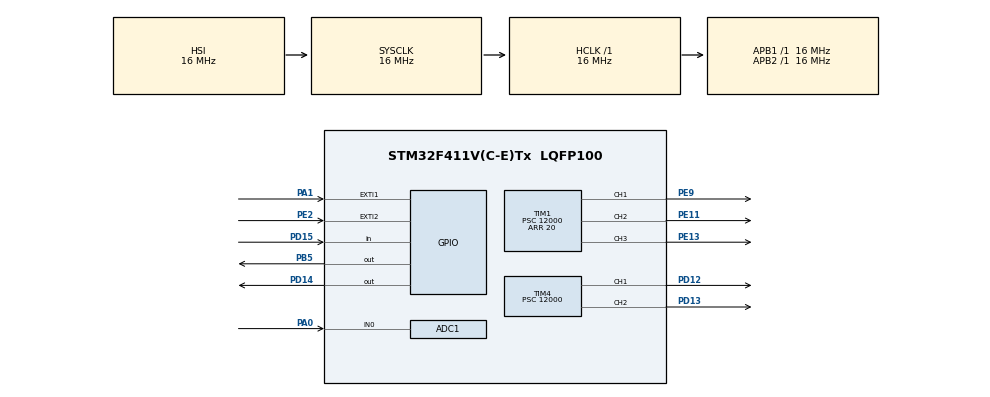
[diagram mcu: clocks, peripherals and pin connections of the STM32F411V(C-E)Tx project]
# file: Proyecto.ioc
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ADC1.Channel-0\#ChannelRegularConversion=ADC_CHANNEL_0
ADC1.NbrOfConversionFlag=1
ADC1.Rank-0\#ChannelRegularConversion=1
ADC1.Resolution=ADC_RESOLUTION_8B
ADC1.SamplingTime-0\#ChannelRegularConversion=ADC_SAMPLETIME_3CYCLES
ADC1.master=1
Mcu.Family=STM32F4
Mcu.Name=STM32F411V(C-E)Tx
Mcu.Package=LQFP100
NVIC.EXTI1_IRQn=true\:0\:0\:false\:false\:true\:true\:true
NVIC.EXTI2_IRQn=true\:0\:0\:false\:false\:true\:true\:true
NVIC.PriorityGroup=NVIC_PRIORITYGROUP_4
PA0-WKUP.Signal=ADCx_IN0
PA1.GPIO_ModeDefaultEXTI=GPIO_MODE_IT_RISING
PA1.GPIO_PuPd=GPIO_PULLUP
PA1.Signal=GPXTI1
PB5.Signal=GPIO_Output
PD12.Signal=S_TIM4_CH1
PD13.Signal=S_TIM4_CH2
PD14.Signal=GPIO_Output
PD15.Signal=GPIO_Input
PE11.Signal=S_TIM1_CH2
PE13.Signal=S_TIM1_CH3
PE2.Signal=GPXTI2
PE9.Signal=S_TIM1_CH1
ProjectManager.HeapSize=0x200
ProjectManager.StackSize=0x400
ProjectManager.TargetToolchain=MDK-ARM V5
RCC.AHBFreq_Value=16000000
RCC.APB1Freq_Value=16000000
RCC.APB2Freq_Value=16000000
RCC.CortexFreq_Value=16000000
RCC.HSE_VALUE=25000000
RCC.HSI_VALUE=16000000
RCC.LSE_VALUE=32768
RCC.SYSCLKFreq_VALUE=16000000
RCC.VCOOutputFreq_Value=192000000
SH.ADCx_IN0.0=ADC1_IN0,IN0
SH.S_TIM1_CH1.0=TIM1_CH1,PWM Generation1 CH1
SH.S_TIM1_CH2.0=TIM1_CH2,PWM Generation2 CH2
SH.S_TIM1_CH3.0=TIM1_CH3,PWM Generation3 CH3
SH.S_TIM4_CH1.0=TIM4_CH1,PWM Generation1 CH1
SH.S_TIM4_CH2.0=TIM4_CH2,PWM Generation2 CH2
TIM1.Channel-PWM\ Generation1\ CH1=TIM_CHANNEL_1
TIM1.Channel-PWM\ Generation2\ CH2=TIM_CHANNEL_2
TIM1.Channel-PWM\ Generation3\ CH3=TIM_CHANNEL_3
TIM1.Period=20
TIM1.Prescaler=12000
TIM4.Channel-PWM\ Generation1\ CH1=TIM_CHANNEL_1
TIM4.Channel-PWM\ Generation2\ CH2=TIM_CHANNEL_2
TIM4.Period=20
TIM4.Prescaler=12000
VP_TIM1_VS_ClockSourceINT.Mode=Internal
VP_TIM4_VS_ClockSourceINT.Mode=Internal
board=custom

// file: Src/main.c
/* USER CODE BEGIN Header */
/**
  ******************************************************************************
  * @file           : main.c
  * @brief          : Main program body
  ******************************************************************************
  * @attention
  *
  * <h2><center>&copy; Copyright (c) 2019 STMicroelectronics.
  * All rights reserved.</center></h2>
  *
  * This software component is licensed by ST under BSD 3-Clause license,
  * the "License"; You may not use this file except in compliance with the
  * License. You may obtain a copy of the License at:
  *                        opensource.org/licenses/BSD-3-Clause
  *
  ******************************************************************************
  */
/* USER CODE END Header */

#include "main.h"

ADC_HandleTypeDef hadc1;

TIM_HandleTypeDef htim1;
TIM_HandleTypeDef htim4;

/* USER CODE BEGIN PV */
#define US1_Trigger_Port GPIOD
#define US1_Trigger_Pin  GPIO_PIN_14
#define US1_Echo_Port GPIOD
#define US1_Echo_Pin  GPIO_PIN_15
/* USER CODE END PV */

void SystemClock_Config(void);
static void MX_GPIO_Init(void);
static void MX_ADC1_Init(void);
static void MX_TIM1_Init(void);
static void MX_TIM4_Init(void);

/* USER CODE BEGIN 0 */

int posicion, automatico;
const int timeThreshold = 300;
long startTime = 0;
long startTime1 = 0;

void HAL_GPIO_EXTI_Callback(uint16_t GPIO_Pin) //Interrupcion
{
	//modulo antirrebotes

	if(GPIO_Pin == GPIO_PIN_1)
	{
		if ( HAL_GetTick() - startTime > timeThreshold )
		{
			// Control de la interrupción del botón
			if(posicion==3)
				posicion=1;
			else
				posicion++;
		}
		startTime = HAL_GetTick();
	}
	else if (GPIO_Pin == GPIO_PIN_2)
	{
		if ( HAL_GetTick() - startTime > timeThreshold )
		{
			// Control de la interrupción del botón
			if(automatico==1)
				automatico=0;
			else
				automatico++;
		}
		startTime = HAL_GetTick();// Control de la interrupción del botón
	}
}
/* USER CODE END 0 */

int main(void)
{

  /* MCU Configuration--------------------------------------------------------*/

  /* Reset of all peripherals, Initializes the Flash interface and the Systick. */
  HAL_Init();

  /* Configure the system clock */
  SystemClock_Config();

  /* Initialize all configured peripherals */
  MX_GPIO_Init();
  MX_ADC1_Init();
  MX_TIM1_Init();
  MX_TIM4_Init();
  /* USER CODE BEGIN 2 */
	posicion =0;
  /* USER CODE END 2 */

  /* Infinite loop */
  while (1)
  {

    /* USER CODE BEGIN 3 */
	uint8_t potenciometro;
	if (posicion ==1)
	 {
	//	HAL_GPIO_WritePin(GPIOD, GPIO_PIN_10, GPIO_PIN_SET); //zumbador
		HAL_TIM_PWM_Start(&htim1, TIM_CHANNEL_1);//VERDE COCHES
		HAL_TIM_PWM_Stop(&htim1, TIM_CHANNEL_2);
		HAL_TIM_PWM_Stop(&htim1, TIM_CHANNEL_3);
		HAL_TIM_PWM_Stop(&htim4, TIM_CHANNEL_1);
		HAL_TIM_PWM_Start(&htim4, TIM_CHANNEL_2); //ROJO PEATONES
	}
	else if (posicion ==2)
	{
//		HAL_GPIO_WritePin(GPIOD, GPIO_PIN_10, GPIO_PIN_RESET);
		HAL_TIM_PWM_Stop(&htim1, TIM_CHANNEL_1);
		HAL_TIM_PWM_Stop(&htim1, TIM_CHANNEL_2);
		HAL_TIM_PWM_Start(&htim1, TIM_CHANNEL_3); //AMARILLO COCHES
		HAL_TIM_PWM_Stop(&htim4, TIM_CHANNEL_1);
		HAL_TIM_PWM_Start(&htim4, TIM_CHANNEL_2); //ROJO PEATONES
	}
	else if (posicion ==3)
	{
	//	HAL_GPIO_WritePin(GPIOD, GPIO_PIN_10, GPIO_PIN_RESET);
		HAL_TIM_PWM_Stop(&htim1, TIM_CHANNEL_1);
		HAL_TIM_PWM_Start(&htim1, TIM_CHANNEL_2);//ROJO COCHES
		HAL_TIM_PWM_Stop(&htim1, TIM_CHANNEL_3);
		HAL_TIM_PWM_Start(&htim4, TIM_CHANNEL_1); //VERDE PEATONES
		HAL_TIM_PWM_Stop(&htim4, TIM_CHANNEL_2);
	}
 if(automatico==1)
 {
	  HAL_TIM_PWM_Start(&htim1, TIM_CHANNEL_1);//VERDE COCHES
		HAL_TIM_PWM_Stop(&htim1, TIM_CHANNEL_2);
		HAL_TIM_PWM_Stop(&htim1, TIM_CHANNEL_3);
		HAL_TIM_PWM_Stop(&htim4, TIM_CHANNEL_1);
		HAL_TIM_PWM_Start(&htim4, TIM_CHANNEL_2); //ROJO PEATONES
	  HAL_Delay(2000);
	 	HAL_TIM_PWM_Stop(&htim1, TIM_CHANNEL_1);
		HAL_TIM_PWM_Stop(&htim1, TIM_CHANNEL_2);
		HAL_TIM_PWM_Start(&htim1, TIM_CHANNEL_3); //AMARILLO COCHES
		HAL_TIM_PWM_Stop(&htim4, TIM_CHANNEL_1);
		HAL_TIM_PWM_Start(&htim4, TIM_CHANNEL_2); //ROJO PEATONES
	  HAL_Delay(2000);
	 	HAL_TIM_PWM_Stop(&htim1, TIM_CHANNEL_1);
		HAL_TIM_PWM_Start(&htim1, TIM_CHANNEL_2);//ROJO COCHES
		HAL_TIM_PWM_Stop(&htim1, TIM_CHANNEL_3);
		HAL_TIM_PWM_Start(&htim4, TIM_CHANNEL_1); //VERDE PEATONES
		HAL_TIM_PWM_Stop(&htim4, TIM_CHANNEL_2);
	  HAL_Delay(2000);
 }

	//Potenciometro
	HAL_ADC_Start(&hadc1);
	if (HAL_ADC_PollForConversion(&hadc1,UINT32_MAX )==HAL_OK)
	{
		potenciometro=HAL_ADC_GetValue(&hadc1);
	}
		HAL_ADC_Stop(&hadc1);
		int duty = potenciometro/12.75;
		__HAL_TIM_SET_COMPARE(&htim1,TIM_CHANNEL_1, duty);
		__HAL_TIM_SET_COMPARE(&htim1,TIM_CHANNEL_2, duty);
		__HAL_TIM_SET_COMPARE(&htim1,TIM_CHANNEL_3, duty);
		__HAL_TIM_SET_COMPARE(&htim4,TIM_CHANNEL_1, duty);
		__HAL_TIM_SET_COMPARE(&htim4,TIM_CHANNEL_2, duty);

		//Ultrasonidos
		uint8_t state;
		//HAL_NVIC_SetPriority(EXTI1_IRQn, 0, 0); //CONFIGURACIÓN DE LA INTERRUPCIÓN
		//HAL_NVIC_EnableIRQ(EXTI1_IRQn);

		HAL_Delay(50); //PARA QUE TOME MEDIDAS CADA 50MS LA DISTANCIA A LA QUE SE ENCUENTRA EL OBJETO

		//ENVÍA PULSOS AL TRIGGER, QUE ACTIVA EL FUNCIONAMIENTO DEL SENSOR
		//COMO EL PULSO NECESARIO PARA QUE ESTE SENSOR FUNCIONE ES DE 10MILISEGUNDOS, LE PONEMOS UN DELAY
		//SI EL PULSO FUERA MENOR A 10MILISEGUNDOS EL SENSOR NO FUNCIONARÍA (TUVIMOS PROBLEMAS PARA AVERIGUAR ESTA CARACTERÍSTICA DEL SENSOR)
	  HAL_GPIO_WritePin(US1_Trigger_Port, US1_Trigger_Pin, GPIO_PIN_SET);
    HAL_Delay(10);
    HAL_GPIO_WritePin(US1_Trigger_Port, US1_Trigger_Pin, GPIO_PIN_RESET);

		//MIENTRAS NO DETECTE UNA SEÑAL DE SALIDA (UN OBJETO), SIGUE LEYENDO
		//EL PIN DE SALIDA EL ULTRASONIDO
		do {
			state = HAL_GPIO_ReadPin(US1_Echo_Port, US1_Echo_Pin);
    } while (state == RESET);

    uint32_t us1_start = HAL_GetTick();		//UNA VEZ DETECTA UNA SEÑAL(ECHO) EN ALTO, MIDE LA LONGITUD DEL PULSO

    do{		//SIGUE LEYENDO LA SEÑAL (ECHO) HASTA QUE LA SEÑAL SE PONE EN NIVEL BAJO
      state = HAL_GPIO_ReadPin(US1_Echo_Port, US1_Echo_Pin);
		} while (state == SET);

    uint32_t us1_end = HAL_GetTick();	//CUENTA EL TIEMPO QUE TARDA EN PONERSE EN BAJO LA SEÑAL

		//UNA VEZ TENEMOS LA LONGITUD DE AMBOS PULSOS, LA RESTAMOS PARA OBTENER EL TIEMPO QUE HA ESTADO LA SEÑAL
		//ECHO EN ALTO (ES DECIR, LO QUE HA TARDADO EN REBOTAR LA SEÑAL)
    uint32_t tiempo = us1_end - us1_start;

		if(tiempo<2){
		posicion=3;
		}
  }

  /* USER CODE END 3 */
}

void SystemClock_Config(void)
{
  RCC_OscInitTypeDef RCC_OscInitStruct = {0};
  RCC_ClkInitTypeDef RCC_ClkInitStruct = {0};

  /** Configure the main internal regulator output voltage
  */
  __HAL_RCC_PWR_CLK_ENABLE();
  __HAL_PWR_VOLTAGESCALING_CONFIG(PWR_REGULATOR_VOLTAGE_SCALE1);
  /** Initializes the CPU, AHB and APB busses clocks
  */
  RCC_OscInitStruct.OscillatorType = RCC_OSCILLATORTYPE_HSI;
  RCC_OscInitStruct.HSIState = RCC_HSI_ON;
  RCC_OscInitStruct.HSICalibrationValue = RCC_HSICALIBRATION_DEFAULT;
  RCC_OscInitStruct.PLL.PLLState = RCC_PLL_NONE;
  if (HAL_RCC_OscConfig(&RCC_OscInitStruct) != HAL_OK)
  {
    Error_Handler();
  }
  /** Initializes the CPU, AHB and APB busses clocks
  */
  RCC_ClkInitStruct.ClockType = RCC_CLOCKTYPE_HCLK|RCC_CLOCKTYPE_SYSCLK
                              |RCC_CLOCKTYPE_PCLK1|RCC_CLOCKTYPE_PCLK2;
  RCC_ClkInitStruct.SYSCLKSource = RCC_SYSCLKSOURCE_HSI;
  RCC_ClkInitStruct.AHBCLKDivider = RCC_SYSCLK_DIV1;
  RCC_ClkInitStruct.APB1CLKDivider = RCC_HCLK_DIV1;
  RCC_ClkInitStruct.APB2CLKDivider = RCC_HCLK_DIV1;

  if (HAL_RCC_ClockConfig(&RCC_ClkInitStruct, FLASH_LATENCY_0) != HAL_OK)
  {
    Error_Handler();
  }
}

static void MX_ADC1_Init(void)
{

  ADC_ChannelConfTypeDef sConfig = {0};

  /** Configure the global features of the ADC (Clock, Resolution, Data Alignment and number of conversion)
  */
  hadc1.Instance = ADC1;
  hadc1.Init.ClockPrescaler = ADC_CLOCK_SYNC_PCLK_DIV2;
  hadc1.Init.Resolution = ADC_RESOLUTION_8B;
  hadc1.Init.ScanConvMode = DISABLE;
  hadc1.Init.ContinuousConvMode = DISABLE;
  hadc1.Init.DiscontinuousConvMode = DISABLE;
  hadc1.Init.ExternalTrigConvEdge = ADC_EXTERNALTRIGCONVEDGE_NONE;
  hadc1.Init.ExternalTrigConv = ADC_SOFTWARE_START;
  hadc1.Init.DataAlign = ADC_DATAALIGN_RIGHT;
  hadc1.Init.NbrOfConversion = 1;
  hadc1.Init.DMAContinuousRequests = DISABLE;
  hadc1.Init.EOCSelection = ADC_EOC_SINGLE_CONV;
  if (HAL_ADC_Init(&hadc1) != HAL_OK)
  {
    Error_Handler();
  }
  /** Configure for the selected ADC regular channel its corresponding rank in the sequencer and its sample time.
  */
  sConfig.Channel = ADC_CHANNEL_0;
  sConfig.Rank = 1;
  sConfig.SamplingTime = ADC_SAMPLETIME_3CYCLES;
  if (HAL_ADC_ConfigChannel(&hadc1, &sConfig) != HAL_OK)
  {
    Error_Handler();
  }

}

static void MX_TIM1_Init(void)
{

  TIM_ClockConfigTypeDef sClockSourceConfig = {0};
  TIM_MasterConfigTypeDef sMasterConfig = {0};
  TIM_OC_InitTypeDef sConfigOC = {0};
  TIM_BreakDeadTimeConfigTypeDef sBreakDeadTimeConfig = {0};

  htim1.Instance = TIM1;
  htim1.Init.Prescaler = 12000;
  htim1.Init.CounterMode = TIM_COUNTERMODE_UP;
  htim1.Init.Period = 20;
  htim1.Init.ClockDivision = TIM_CLOCKDIVISION_DIV1;
  htim1.Init.RepetitionCounter = 0;
  htim1.Init.AutoReloadPreload = TIM_AUTORELOAD_PRELOAD_DISABLE;
  if (HAL_TIM_Base_Init(&htim1) != HAL_OK)
  {
    Error_Handler();
  }
  sClockSourceConfig.ClockSource = TIM_CLOCKSOURCE_INTERNAL;
  if (HAL_TIM_ConfigClockSource(&htim1, &sClockSourceConfig) != HAL_OK)
  {
    Error_Handler();
  }
  if (HAL_TIM_PWM_Init(&htim1) != HAL_OK)
  {
    Error_Handler();
  }
  sMasterConfig.MasterOutputTrigger = TIM_TRGO_RESET;
  sMasterConfig.MasterSlaveMode = TIM_MASTERSLAVEMODE_DISABLE;
  if (HAL_TIMEx_MasterConfigSynchronization(&htim1, &sMasterConfig) != HAL_OK)
  {
    Error_Handler();
  }
  sConfigOC.OCMode = TIM_OCMODE_PWM1;
  sConfigOC.Pulse = 0;
  sConfigOC.OCPolarity = TIM_OCPOLARITY_HIGH;
  sConfigOC.OCNPolarity = TIM_OCNPOLARITY_HIGH;
  sConfigOC.OCFastMode = TIM_OCFAST_DISABLE;
  sConfigOC.OCIdleState = TIM_OCIDLESTATE_RESET;
  sConfigOC.OCNIdleState = TIM_OCNIDLESTATE_RESET;
  if (HAL_TIM_PWM_ConfigChannel(&htim1, &sConfigOC, TIM_CHANNEL_1) != HAL_OK)
  {
    Error_Handler();
  }
  if (HAL_TIM_PWM_ConfigChannel(&htim1, &sConfigOC, TIM_CHANNEL_2) != HAL_OK)
  {
    Error_Handler();
  }
  if (HAL_TIM_PWM_ConfigChannel(&htim1, &sConfigOC, TIM_CHANNEL_3) != HAL_OK)
  {
    Error_Handler();
  }
  sBreakDeadTimeConfig.OffStateRunMode = TIM_OSSR_DISABLE;
  sBreakDeadTimeConfig.OffStateIDLEMode = TIM_OSSI_DISABLE;
  sBreakDeadTimeConfig.LockLevel = TIM_LOCKLEVEL_OFF;
  sBreakDeadTimeConfig.DeadTime = 0;
  sBreakDeadTimeConfig.BreakState = TIM_BREAK_DISABLE;
  sBreakDeadTimeConfig.BreakPolarity = TIM_BREAKPOLARITY_HIGH;
  sBreakDeadTimeConfig.AutomaticOutput = TIM_AUTOMATICOUTPUT_DISABLE;
  if (HAL_TIMEx_ConfigBreakDeadTime(&htim1, &sBreakDeadTimeConfig) != HAL_OK)
  {
    Error_Handler();
  }
  HAL_TIM_MspPostInit(&htim1);

}

static void MX_TIM4_Init(void)
{

  TIM_ClockConfigTypeDef sClockSourceConfig = {0};
  TIM_MasterConfigTypeDef sMasterConfig = {0};
  TIM_OC_InitTypeDef sConfigOC = {0};

  htim4.Instance = TIM4;
  htim4.Init.Prescaler = 12000;
  htim4.Init.CounterMode = TIM_COUNTERMODE_UP;
  htim4.Init.Period = 20;
  htim4.Init.ClockDivision = TIM_CLOCKDIVISION_DIV1;
  htim4.Init.AutoReloadPreload = TIM_AUTORELOAD_PRELOAD_DISABLE;
  if (HAL_TIM_Base_Init(&htim4) != HAL_OK)
  {
    Error_Handler();
  }
  sClockSourceConfig.ClockSource = TIM_CLOCKSOURCE_INTERNAL;
  if (HAL_TIM_ConfigClockSource(&htim4, &sClockSourceConfig) != HAL_OK)
  {
    Error_Handler();
  }
  if (HAL_TIM_PWM_Init(&htim4) != HAL_OK)
  {
    Error_Handler();
  }
  sMasterConfig.MasterOutputTrigger = TIM_TRGO_RESET;
  sMasterConfig.MasterSlaveMode = TIM_MASTERSLAVEMODE_DISABLE;
  if (HAL_TIMEx_MasterConfigSynchronization(&htim4, &sMasterConfig) != HAL_OK)
  {
    Error_Handler();
  }
  sConfigOC.OCMode = TIM_OCMODE_PWM1;
  sConfigOC.Pulse = 0;
  sConfigOC.OCPolarity = TIM_OCPOLARITY_HIGH;
  sConfigOC.OCFastMode = TIM_OCFAST_DISABLE;
  if (HAL_TIM_PWM_ConfigChannel(&htim4, &sConfigOC, TIM_CHANNEL_1) != HAL_OK)
  {
    Error_Handler();
  }
  if (HAL_TIM_PWM_ConfigChannel(&htim4, &sConfigOC, TIM_CHANNEL_2) != HAL_OK)
  {
    Error_Handler();
  }
  HAL_TIM_MspPostInit(&htim4);

}

static void MX_GPIO_Init(void)
{
  GPIO_InitTypeDef GPIO_InitStruct = {0};

  /* GPIO Ports Clock Enable */
  __HAL_RCC_GPIOE_CLK_ENABLE();
  __HAL_RCC_GPIOA_CLK_ENABLE();
  __HAL_RCC_GPIOD_CLK_ENABLE();
  __HAL_RCC_GPIOB_CLK_ENABLE();

  /*Configure GPIO pin Output Level */
  HAL_GPIO_WritePin(GPIOD, GPIO_PIN_14, GPIO_PIN_RESET);

  /*Configure GPIO pin Output Level */
  HAL_GPIO_WritePin(GPIOB, GPIO_PIN_5, GPIO_PIN_RESET);

  /*Configure GPIO pin : PE2 */
  GPIO_InitStruct.Pin = GPIO_PIN_2;
  GPIO_InitStruct.Mode = GPIO_MODE_IT_RISING;
  GPIO_InitStruct.Pull = GPIO_NOPULL;
  HAL_GPIO_Init(GPIOE, &GPIO_InitStruct);

  /*Configure GPIO pin : PA1 */
  GPIO_InitStruct.Pin = GPIO_PIN_1;
  GPIO_InitStruct.Mode = GPIO_MODE_IT_RISING;
  GPIO_InitStruct.Pull = GPIO_PULLUP;
  HAL_GPIO_Init(GPIOA, &GPIO_InitStruct);

  /*Configure GPIO pin : PD14 */
  GPIO_InitStruct.Pin = GPIO_PIN_14;
  GPIO_InitStruct.Mode = GPIO_MODE_OUTPUT_PP;
  GPIO_InitStruct.Pull = GPIO_NOPULL;
  GPIO_InitStruct.Speed = GPIO_SPEED_FREQ_LOW;
  HAL_GPIO_Init(GPIOD, &GPIO_InitStruct);

  /*Configure GPIO pin : PD15 */
  GPIO_InitStruct.Pin = GPIO_PIN_15;
  GPIO_InitStruct.Mode = GPIO_MODE_INPUT;
  GPIO_InitStruct.Pull = GPIO_NOPULL;
  HAL_GPIO_Init(GPIOD, &GPIO_InitStruct);

  /*Configure GPIO pin : PB5 */
  GPIO_InitStruct.Pin = GPIO_PIN_5;
  GPIO_InitStruct.Mode = GPIO_MODE_OUTPUT_PP;
  GPIO_InitStruct.Pull = GPIO_NOPULL;
  GPIO_InitStruct.Speed = GPIO_SPEED_FREQ_LOW;
  HAL_GPIO_Init(GPIOB, &GPIO_InitStruct);

  /* EXTI interrupt init*/
  HAL_NVIC_SetPriority(EXTI1_IRQn, 0, 0);
  HAL_NVIC_EnableIRQ(EXTI1_IRQn);

  HAL_NVIC_SetPriority(EXTI2_IRQn, 0, 0);
  HAL_NVIC_EnableIRQ(EXTI2_IRQn);

}

void Error_Handler(void)
{
}

/************************ (C) COPYRIGHT STMicroelectronics *****END OF FILE****/
